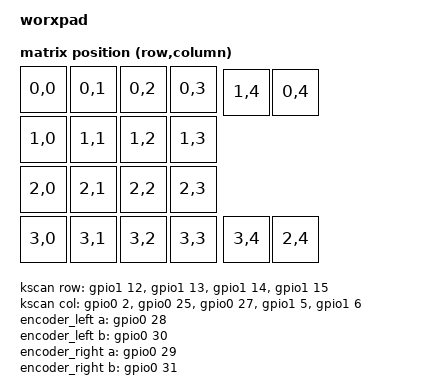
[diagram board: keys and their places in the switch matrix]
/*
 * SPDX-License-Identifier: MIT
 *
 * worxpad: u-blox BMD-340 (nRF52840) in LV mode, 4 x 4 keys plus a fifth matrix column for the knob
 * pushes and the round buttons, two EC11-class encoders, a 240 x 240 ST7789V panel on SPIM3, a W25Q128JV
 * on QSPI, a MAX17048 gauge and the BQ24072 status lines. Pins come from [pinmap] in board.toml and are
 * checked by tools/check_pins.py. Partition layout as ZMK's nice_nano board (Adafruit nRF52 UF2
 * bootloader with SoftDevice S140 v6 area; mcu-radio 7.7). Nothing here has run on a worxpad board.
 */

/dts-v1/;

#include <nordic/nrf52840_qiaa.dtsi>
#include <common/nordic/nrf52840_uf2_boot_mode.dtsi>
#include <dt-bindings/zmk/matrix_transform.h>
#include <physical_layouts.dtsi>
#include <zephyr/dt-bindings/pwm/pwm.h>
#include <zephyr/dt-bindings/mipi_dbi/mipi_dbi.h>
#include "worxpad-pinctrl.dtsi"

/ {
    model = "worxpad";
    compatible = "worxbend,worxpad";

    chosen {
        zephyr,code-partition = &code_partition;
        zephyr,sram = &sram0;
        zephyr,flash = &flash0;
        zephyr,display = &lcd;
        zmk,kscan = &kscan;
        zmk,physical-layout = &layout;
        zmk,battery = &fuel_gauge;
    };

    /*
     * col2row: the columns drive, the rows read through the internal pull-downs (keys 6.6).
     * Rows R0 to R3 and columns C0 to C4 in board.toml order.
     */
    kscan: kscan {
        compatible = "zmk,kscan-gpio-matrix";
        wakeup-source;
        diode-direction = "col2row";
        row-gpios = <&gpio1 12 (GPIO_ACTIVE_HIGH | GPIO_PULL_DOWN)>,
                    <&gpio1 13 (GPIO_ACTIVE_HIGH | GPIO_PULL_DOWN)>,
                    <&gpio1 14 (GPIO_ACTIVE_HIGH | GPIO_PULL_DOWN)>,
                    <&gpio1 15 (GPIO_ACTIVE_HIGH | GPIO_PULL_DOWN)>;
        col-gpios = <&gpio0 2 GPIO_ACTIVE_HIGH>,
                    <&gpio0 25 GPIO_ACTIVE_HIGH>,
                    <&gpio0 27 GPIO_ACTIVE_HIGH>,
                    <&gpio1 5 GPIO_ACTIVE_HIGH>,
                    <&gpio1 6 GPIO_ACTIVE_HIGH>;
    };

    /*
     * Keymap position order: the 16 keys row by row from the rear-left, then the left knob push (C4R1),
     * the right knob push (C4R0), the left button (C4R3) and the right button (C4R2).
     */
    transform: matrix_transform {
        compatible = "zmk,matrix-transform";
        rows = <4>;
        columns = <5>;
        map = <
            RC(0,0) RC(0,1) RC(0,2) RC(0,3)
            RC(1,0) RC(1,1) RC(1,2) RC(1,3)
            RC(2,0) RC(2,1) RC(2,2) RC(2,3)
            RC(3,0) RC(3,1) RC(3,2) RC(3,3)
            RC(1,4) RC(0,4) RC(3,4) RC(2,4)
        >;
    };

    /*
     * Positions in 1/100 key units, top-left corner of a 1u square, key 0 at (0, 0). The knobs and
     * buttons sit at their board.toml centres, converted with the 19.05 mm pitch (check_pins checks it).
     */
    layout: physical_layout {
        compatible = "zmk,physical-layout";
        display-name = "worxpad";
        kscan = <&kscan>;
        transform = <&transform>;
        keys
            = <&key_physical_attrs 100 100   0   0 0 0 0>
            , <&key_physical_attrs 100 100 100   0 0 0 0>
            , <&key_physical_attrs 100 100 200   0 0 0 0>
            , <&key_physical_attrs 100 100 300   0 0 0 0>
            , <&key_physical_attrs 100 100   0 100 0 0 0>
            , <&key_physical_attrs 100 100 100 100 0 0 0>
            , <&key_physical_attrs 100 100 200 100 0 0 0>
            , <&key_physical_attrs 100 100 300 100 0 0 0>
            , <&key_physical_attrs 100 100   0 200 0 0 0>
            , <&key_physical_attrs 100 100 100 200 0 0 0>
            , <&key_physical_attrs 100 100 200 200 0 0 0>
            , <&key_physical_attrs 100 100 300 200 0 0 0>
            , <&key_physical_attrs 100 100   0 300 0 0 0>
            , <&key_physical_attrs 100 100 100 300 0 0 0>
            , <&key_physical_attrs 100 100 200 300 0 0 0>
            , <&key_physical_attrs 100 100 300 300 0 0 0>
            , <&key_physical_attrs 100 100 407   6 0 0 0>
            , <&key_physical_attrs 100 100 505   6 0 0 0>
            , <&key_physical_attrs 100 100 407 300 0 0 0>
            , <&key_physical_attrs 100 100 505 300 0 0 0>
            ;
    };

    /* Bourns PEC12R-4215F-S0024: 24 detents, 24 pulses, both contacts open at detent (rotary-buttons). */
    encoder_left: encoder_left {
        compatible = "alps,ec11";
        a-gpios = <&gpio0 28 (GPIO_ACTIVE_HIGH | GPIO_PULL_UP)>;
        b-gpios = <&gpio0 30 (GPIO_ACTIVE_HIGH | GPIO_PULL_UP)>;
        steps = <96>;
        status = "okay";
    };

    encoder_right: encoder_right {
        compatible = "alps,ec11";
        a-gpios = <&gpio0 29 (GPIO_ACTIVE_HIGH | GPIO_PULL_UP)>;
        b-gpios = <&gpio0 31 (GPIO_ACTIVE_HIGH | GPIO_PULL_UP)>;
        steps = <96>;
        status = "okay";
    };

    sensors: sensors {
        compatible = "zmk,keymap-sensors";
        sensors = <&encoder_left &encoder_right>;
        triggers-per-rotation = <24>;
    };

    /* Backlight PWM. Driven by firmware/zmk/src/display_power.c, which dims it (power 15). */
    backlight_leds: backlight_leds {
        compatible = "pwm-leds";
        backlight: backlight {
            pwms = <&pwm0 0 PWM_USEC(100) PWM_POLARITY_NORMAL>;
        };
    };

    mipi_dbi {
        compatible = "zephyr,mipi-dbi-spi";
        spi-dev = <&spi3>;
        dc-gpios = <&gpio0 16 GPIO_ACTIVE_HIGH>;
        reset-gpios = <&gpio1 0 GPIO_ACTIVE_LOW>;
        write-only;
        #address-cells = <1>;
        #size-cells = <0>;

        /*
         * DM-TFT13-377p24 (LH133T-IF05, ST7789VW). 16 MHz from board.toml display.spi_mhz. The panel
         * register values are the ones the mcu-radio RAM probe built with (Zephyr's 240 x 240 ST7789V
         * example set); they are not checked against the DisplayModule init sequence. MADCTL 0x00 and
         * zero offsets assume the flex-toward-the-front mounting; display 6.5 says to check MADCTL and
         * the 80-line RAM offset on board 1.
         */
        lcd: st7789v@0 {
            compatible = "sitronix,st7789v";
            reg = <0>;
            mipi-max-frequency = <16000000>;
            mipi-mode = "MIPI_DBI_MODE_SPI_4WIRE";
            width = <240>;
            height = <240>;
            x-offset = <0>;
            y-offset = <0>;
            vcom = <0x19>;
            gctrl = <0x35>;
            vrhs = <0x12>;
            vdvs = <0x20>;
            mdac = <0x00>;
            gamma = <0x01>;
            colmod = <0x05>;
            lcm = <0x2c>;
            porch-param = [0c 0c 00 33 33];
            cmd2en-param = [5a 69 02 01];
            pwctrl1-param = [a4 a1];
            pvgam-param = [d0 04 0d 11 13 2b 3f 54 4c 18 0d 0b 1f 23];
            nvgam-param = [d0 04 0c 11 13 2c 3f 44 51 2f 1f 1f 20 23];
            ram-param = [00 f0];
            rgb-param = [cd 08 14];
        };
    };

    /*
     * BQ24072 open-drain status lines, read by the status screen (power 6.3). Both low-active with the
     * internal pull-up. The gauge ALRT line (P0.26) is wired but unused: the ZMK MAX17048 driver polls.
     */
    zephyr,user {
        chg-gpios = <&gpio0 3 (GPIO_ACTIVE_LOW | GPIO_PULL_UP)>;
        pgood-gpios = <&gpio0 4 (GPIO_ACTIVE_LOW | GPIO_PULL_UP)>;
    };
};

/* LV mode: VCC and VCCH tied to 3V3, REG0 unused. REG1 DC/DC on (inductor on the module, mcu-radio 7.7). */
&reg1 {
    regulator-initial-mode = <NRF5X_REG_MODE_DCDC>;
};

/* P0.18 is the reset line to the reset button and the TC2030 pads (usb-io 6.6). */
&uicr {
    gpio-as-nreset;
};

&gpiote {
    status = "okay";
};

&gpio0 {
    status = "okay";
};

&gpio1 {
    status = "okay";
};

zephyr_udc0: &usbd {
    status = "okay";
};

&spi3 {
    status = "okay";
    compatible = "nordic,nrf-spim";
    pinctrl-0 = <&spi3_default>;
    pinctrl-1 = <&spi3_sleep>;
    pinctrl-names = "default", "sleep";
    cs-gpios = <&gpio0 14 GPIO_ACTIVE_LOW>;
};

&i2c0 {
    status = "okay";
    compatible = "nordic,nrf-twim";
    pinctrl-0 = <&i2c0_default>;
    pinctrl-1 = <&i2c0_sleep>;
    pinctrl-names = "default", "sleep";
    clock-frequency = <I2C_BITRATE_FAST>;

    fuel_gauge: max17048@36 {
        compatible = "zmk,maxim-max17048";
        reg = <0x36>;
    };
};

&pwm0 {
    status = "okay";
    pinctrl-0 = <&pwm0_default>;
    pinctrl-1 = <&pwm0_sleep>;
    pinctrl-names = "default", "sleep";
};

/*
 * W25Q128JVSIQ. No file system yet: the node exists so that runtime PM keeps the part in deep power-down
 * (mcu-radio 7.7 hook 3) until the icon store is written.
 */
&qspi {
    status = "okay";
    pinctrl-0 = <&qspi_default>;
    pinctrl-1 = <&qspi_sleep>;
    pinctrl-names = "default", "sleep";

    icon_flash: w25q128jv@0 {
        compatible = "nordic,qspi-nor";
        reg = <0>;
        writeoc = "pp4io";
        readoc = "read4io";
        sck-frequency = <32000000>;
        jedec-id = [ef 40 18];
        size = <134217728>;
        quad-enable-requirements = "S2B1v4";
        has-dpd;
        t-enter-dpd = <3000>;
        t-exit-dpd = <30000>;
        zephyr,pm-device-runtime-auto;
    };
};

&flash0 {
    partitions {
        compatible = "fixed-partitions";
        #address-cells = <1>;
        #size-cells = <1>;

        sd_partition: partition@0 {
            reg = <0x00000000 0x00026000>;
        };
        code_partition: partition@26000 {
            reg = <0x00026000 0x000c6000>;
        };
        storage_partition: partition@ec000 {
            reg = <0x000ec000 0x00008000>;
        };
        boot_partition: partition@f4000 {
            reg = <0x000f4000 0x0000c000>;
        };
    };
};
